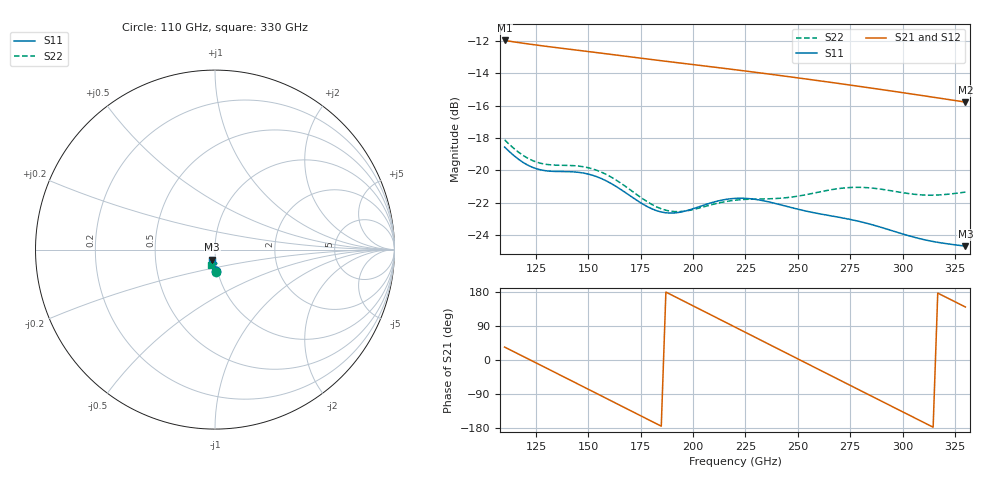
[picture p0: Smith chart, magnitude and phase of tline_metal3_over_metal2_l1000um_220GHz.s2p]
#  GHZ S DB R 50
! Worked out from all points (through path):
!   101 points, 110 GHz to 330 GHz, reference 50 ohm
!   highest |S21| = -11.98 dB at 110 GHz (marker M1); lowest = -15.8 dB at 330 GHz (marker M2)
!   group delay of S21, straight-line fit = 7.76 ps
!   lowest |S11| = -24.7 dB at 330 GHz (marker M3), VSWR 1.12, Z = 48.1 - j5.42 ohm
!   |S11| at or under -10 dB: start of sweep to end of sweep
!   |S22| runs from -22.5 to -18.1 dB; largest |S21 - S12| = 3.4e-15
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110  -18.56 -87.4  -11.98 34.1  -11.98 34.1  -18.11 -87.9
118.8  -19.50 -86.0  -12.15 9.6  -12.15 9.6  -19.07 -86.8
127.6  -19.98 -83.6  -12.30 -14.8  -12.30 -14.8  -19.57 -84.6
138.6  -20.07 -83.1  -12.48 -45.5  -12.48 -45.5  -19.69 -84.1
147.4  -20.16 -85.2  -12.62 -70.1  -12.62 -70.1  -19.77 -86.2
156.2  -20.50 -88.4  -12.76 -94.7  -12.76 -94.7  -20.11 -89.4
165  -21.13 -90.9  -12.91 -119.3  -12.91 -119.3  -20.74 -92.1
176  -22.08 -90.8  -13.09 -150.1  -13.09 -150.1  -21.75 -92.3
184.8  -22.57 -88.1  -13.23 -174.6  -13.23 -174.6  -22.37 -89.6
193.6  -22.58 -85.1  -13.37 160.8  -13.37 160.8  -22.54 -85.9
204.6  -22.16 -84.1  -13.54 130.0  -13.54 130.0  -22.26 -83.3
220  -21.73 -88.4  -13.78 86.9  -13.78 86.9  -21.84 -84.3
228.8  -21.77 -91.9  -13.93 62.3  -13.93 62.3  -21.77 -85.6
239.8  -22.06 -95.6  -14.11 31.5  -14.11 31.5  -21.73 -86.6
248.6  -22.35 -97.7  -14.26 6.9  -14.26 6.9  -21.62 -87.2
257.4  -22.60 -99.2  -14.42 -17.7  -14.42 -17.7  -21.41 -88.3
268.4  -22.86 -101.1  -14.61 -48.5  -14.61 -48.5  -21.14 -91.0
277.2  -23.09 -102.8  -14.77 -73.1  -14.77 -73.1  -21.04 -93.9
286  -23.37 -104.5  -14.93 -97.6  -14.93 -97.6  -21.10 -96.9
294.8  -23.71 -105.7  -15.10 -122.2  -15.10 -122.2  -21.26 -99.3
312.4  -24.33 -106.2  -15.44 -171.2  -15.44 -171.2  -21.53 -101.7
330  -24.68 -106.0  -15.78 139.9  -15.78 139.9  -21.34 -104.3
